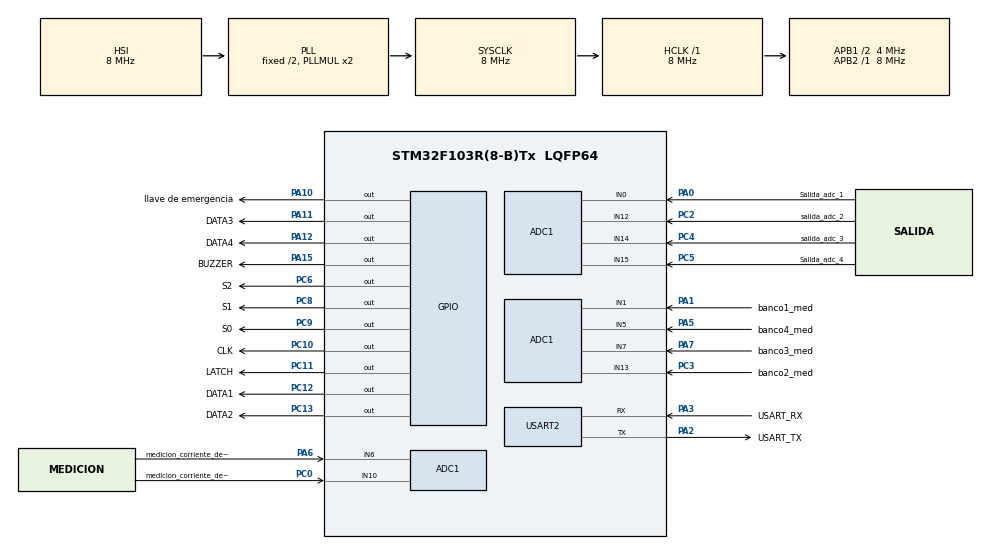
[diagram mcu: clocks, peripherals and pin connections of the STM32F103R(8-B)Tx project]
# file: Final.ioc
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ADC1.Channel-0\#ChannelRegularConversion=ADC_CHANNEL_0
ADC1.Channel-1\#ChannelRegularConversion=ADC_CHANNEL_12
ADC1.Channel-2\#ChannelRegularConversion=ADC_CHANNEL_14
ADC1.Channel-3\#ChannelRegularConversion=ADC_CHANNEL_15
ADC1.Channel-4\#ChannelRegularConversion=ADC_CHANNEL_1
ADC1.Channel-5\#ChannelRegularConversion=ADC_CHANNEL_13
ADC1.Channel-6\#ChannelRegularConversion=ADC_CHANNEL_7
ADC1.Channel-7\#ChannelRegularConversion=ADC_CHANNEL_5
ADC1.Channel-8\#ChannelRegularConversion=ADC_CHANNEL_6
ADC1.Channel-9\#ChannelRegularConversion=ADC_CHANNEL_10
ADC1.ContinuousConvMode=ENABLE
ADC1.NbrOfConversion=10
ADC1.NbrOfConversionFlag=1
ADC1.Rank-0\#ChannelRegularConversion=1
ADC1.Rank-1\#ChannelRegularConversion=2
ADC1.Rank-2\#ChannelRegularConversion=3
ADC1.Rank-3\#ChannelRegularConversion=4
ADC1.Rank-4\#ChannelRegularConversion=5
ADC1.Rank-5\#ChannelRegularConversion=6
ADC1.Rank-6\#ChannelRegularConversion=7
ADC1.Rank-7\#ChannelRegularConversion=8
ADC1.Rank-8\#ChannelRegularConversion=9
ADC1.Rank-9\#ChannelRegularConversion=10
ADC1.SamplingTime-0\#ChannelRegularConversion=ADC_SAMPLETIME_239CYCLES_5
ADC1.SamplingTime-1\#ChannelRegularConversion=ADC_SAMPLETIME_239CYCLES_5
ADC1.SamplingTime-2\#ChannelRegularConversion=ADC_SAMPLETIME_1CYCLE_5
ADC1.SamplingTime-3\#ChannelRegularConversion=ADC_SAMPLETIME_1CYCLE_5
ADC1.SamplingTime-4\#ChannelRegularConversion=ADC_SAMPLETIME_1CYCLE_5
ADC1.SamplingTime-5\#ChannelRegularConversion=ADC_SAMPLETIME_1CYCLE_5
ADC1.SamplingTime-6\#ChannelRegularConversion=ADC_SAMPLETIME_1CYCLE_5
ADC1.SamplingTime-7\#ChannelRegularConversion=ADC_SAMPLETIME_1CYCLE_5
ADC1.SamplingTime-8\#ChannelRegularConversion=ADC_SAMPLETIME_1CYCLE_5
ADC1.SamplingTime-9\#ChannelRegularConversion=ADC_SAMPLETIME_1CYCLE_5
ADC1.master=1
Dma.ADC1.0.Direction=DMA_PERIPH_TO_MEMORY
Dma.ADC1.0.Instance=DMA1_Channel1
Dma.ADC1.0.MemDataAlignment=DMA_MDATAALIGN_HALFWORD
Dma.ADC1.0.MemInc=DMA_MINC_ENABLE
Dma.ADC1.0.Mode=DMA_CIRCULAR
Dma.ADC1.0.PeriphDataAlignment=DMA_PDATAALIGN_HALFWORD
Dma.ADC1.0.PeriphInc=DMA_PINC_DISABLE
Dma.ADC1.0.Priority=DMA_PRIORITY_LOW
Dma.Request0=ADC1
Mcu.Family=STM32F1
Mcu.Name=STM32F103R(8-B)Tx
Mcu.Package=LQFP64
NVIC.ADC1_2_IRQn=true\:0\:0\:false\:false\:true\:true\:true\:true
NVIC.DMA1_Channel1_IRQn=true\:0\:0\:false\:false\:true\:false\:true\:true
NVIC.PriorityGroup=NVIC_PRIORITYGROUP_4
NVIC.USART2_IRQn=true\:0\:0\:false\:false\:true\:true\:true\:true
PA0-WKUP.GPIO_Label=Salida_adc_1
PA0-WKUP.Signal=ADCx_IN0
PA1.GPIO_Label=banco1_med
PA1.Signal=ADCx_IN1
PA10.GPIO_Label=llave de emergencia
PA10.GPIO_PuPd=GPIO_PULLDOWN
PA10.Signal=GPIO_Output
PA11.GPIO_Label=DATA3
PA11.GPIO_PuPd=GPIO_PULLDOWN
PA11.Signal=GPIO_Output
PA12.GPIO_Label=DATA4
PA12.GPIO_PuPd=GPIO_PULLDOWN
PA12.Signal=GPIO_Output
PA13.GPIO_Label=TMS
PA13.Mode=Serial_Wire
PA13.Signal=SYS_JTMS-SWDIO
PA14.GPIO_Label=TCK
PA14.Mode=Serial_Wire
PA14.Signal=SYS_JTCK-SWCLK
PA15.GPIO_Label=BUZZER
PA15.GPIO_PuPd=GPIO_PULLUP
PA15.PinState=GPIO_PIN_SET
PA15.Signal=GPIO_Output
PA2.GPIO_Label=USART_TX
PA2.GPIO_Mode=GPIO_MODE_AF_PP
PA2.GPIO_PuPd=GPIO_NOPULL
PA2.GPIO_Speed=GPIO_SPEED_FREQ_LOW
PA2.Mode=Asynchronous
PA2.Signal=USART2_TX
PA3.GPIO_Label=USART_RX
PA3.GPIO_Mode=GPIO_MODE_AF_PP
PA3.GPIO_PuPd=GPIO_NOPULL
PA3.GPIO_Speed=GPIO_SPEED_FREQ_LOW
PA3.Mode=Asynchronous
PA3.Signal=USART2_RX
PA5.GPIO_Label=banco4_med
PA5.Signal=ADCx_IN5
PA6.GPIO_Label=medicion_corriente_descarga
PA6.Signal=ADCx_IN6
PA7.GPIO_Label=banco3_med
PA7.Signal=ADCx_IN7
PC0.GPIO_Label=medicion_corriente_de_carga
PC0.Signal=ADCx_IN10
PC10.GPIO_Label=CLK
PC10.GPIO_PuPd=GPIO_PULLDOWN
PC10.Signal=GPIO_Output
PC11.GPIO_Label=LATCH
PC11.GPIO_PuPd=GPIO_PULLDOWN
PC11.Signal=GPIO_Output
PC12.GPIO_Label=DATA1
PC12.GPIO_PuPd=GPIO_PULLDOWN
PC12.Signal=GPIO_Output
PC13-TAMPER-RTC.GPIO_Label=DATA2
PC13-TAMPER-RTC.GPIO_PuPd=GPIO_PULLDOWN
PC13-TAMPER-RTC.Signal=GPIO_Output
PC14-OSC32_IN.Mode=LSE-External-Oscillator
PC14-OSC32_IN.Signal=RCC_OSC32_IN
PC15-OSC32_OUT.Mode=LSE-External-Oscillator
PC15-OSC32_OUT.Signal=RCC_OSC32_OUT
PC2.GPIO_Label=salida_adc_2
PC2.Signal=ADCx_IN12
PC3.GPIO_Label=banco2_med
PC3.Signal=ADCx_IN13
PC4.GPIO_Label=salida_adc_3
PC4.Signal=ADCx_IN14
PC5.GPIO_Label=Salida_adc_4
PC5.Signal=ADCx_IN15
PC6.GPIO_Label=S2
PC6.GPIO_PuPd=GPIO_PULLDOWN
PC6.Signal=GPIO_Output
PC8.GPIO_Label=S1
PC8.GPIO_PuPd=GPIO_PULLDOWN
PC8.Signal=GPIO_Output
PC9.GPIO_Label=S0
PC9.GPIO_PuPd=GPIO_PULLDOWN
PC9.Signal=GPIO_Output
PD0-OSC_IN.Mode=HSE-External-Clock-Source
PD0-OSC_IN.Signal=RCC_OSC_IN
PD1-OSC_OUT.Mode=HSE-External-Clock-Source
PD1-OSC_OUT.Signal=RCC_OSC_OUT
ProjectManager.HeapSize=0x200
ProjectManager.StackSize=0x400
ProjectManager.TargetToolchain=STM32CubeIDE
RCC.AHBFreq_Value=8000000
RCC.APB1CLKDivider=RCC_HCLK_DIV2
RCC.APB1Freq_Value=4000000
RCC.APB1TimFreq_Value=8000000
RCC.APB2Freq_Value=8000000
RCC.APB2TimFreq_Value=8000000
RCC.HCLKFreq_Value=8000000
RCC.RTCClockSelection=RCC_RTCCLKSOURCE_LSE
RCC.SYSCLKFreq_VALUE=8000000
RCC.SYSCLKSource=RCC_SYSCLKSOURCE_PLLCLK
RCC.USBFreq_Value=8000000
SH.ADCx_IN0.0=ADC1_IN0,IN0
SH.ADCx_IN1.0=ADC1_IN1,IN1
SH.ADCx_IN10.0=ADC1_IN10,IN10
SH.ADCx_IN12.0=ADC1_IN12,IN12
SH.ADCx_IN13.0=ADC1_IN13,IN13
SH.ADCx_IN14.0=ADC1_IN14,IN14
SH.ADCx_IN15.0=ADC1_IN15,IN15
SH.ADCx_IN5.0=ADC1_IN5,IN5
SH.ADCx_IN6.0=ADC1_IN6,IN6
SH.ADCx_IN7.0=ADC1_IN7,IN7
USART2.VirtualMode=VM_ASYNC
board=NUCLEO-F103RB

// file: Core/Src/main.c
/* USER CODE BEGIN Header */
#include "shift_register.h"
/**
  ******************************************************************************
  * @file           : main.c
  * @brief          : Main program body
  ******************************************************************************
  * @attention
  *
  * Copyright (c) 2026 STMicroelectronics.
  * All rights reserved.
  *
  * This software is licensed under terms that can be found in the LICENSE file
  * in the root directory of this software component.
  * If no LICENSE file comes with this software, it is provided AS-IS.
  *
  ******************************************************************************
  */
/* USER CODE END Header */
#include "main.h"

/* USER CODE BEGIN Includes */
#include "controlador.h"
#include "cli.h"
#include "adc.h"
#include "Llave.h"
/* USER CODE END Includes */

ADC_HandleTypeDef hadc1;
DMA_HandleTypeDef hdma_adc1;

UART_HandleTypeDef huart2;

/* USER CODE BEGIN PV */
extern volatile uint8_t flag_controlador_update;

/* USER CODE END PV */

void SystemClock_Config(void);
static void MX_GPIO_Init(void);
static void MX_DMA_Init(void);
static void MX_USART2_UART_Init(void);
static void MX_ADC1_Init(void);

int main(void)
{

  /* MCU Configuration--------------------------------------------------------*/

  /* Reset of all peripherals, Initializes the Flash interface and the Systick. */
  HAL_Init();

  /* Configure the system clock */
  SystemClock_Config();

  /* Initialize all configured peripherals */
  MX_GPIO_Init();
  MX_DMA_Init();
  MX_USART2_UART_Init();
  MX_ADC1_Init();
  /* USER CODE BEGIN 2 */

  Llave_Init();
  CLI_Init(&huart2);
  adc_init();

  /* USER CODE END 2 */

  /* Infinite loop */
  /* USER CODE BEGIN WHILE */
  //Controlador_IniciarSwitchingCelda(0,1,'s');

  while (1)
  {
	  //Controlador_EncenderCelda(0,0);
	   CLI_Process();
	   adc_update();
	    if (flag_controlador_update) {
	        flag_controlador_update = 0;
	        if (Controlador_Update() == -1){
	        	CLI_ImprimirFalla(Controlador_GetFalla());
	        }
	    }

    /* USER CODE END WHILE */

  }
}

void SystemClock_Config(void)
{
  RCC_OscInitTypeDef RCC_OscInitStruct = {0};
  RCC_ClkInitTypeDef RCC_ClkInitStruct = {0};
  RCC_PeriphCLKInitTypeDef PeriphClkInit = {0};

  /** Initializes the RCC Oscillators according to the specified parameters
  * in the RCC_OscInitTypeDef structure.
  */
  RCC_OscInitStruct.OscillatorType = RCC_OSCILLATORTYPE_HSI;
  RCC_OscInitStruct.HSIState = RCC_HSI_ON;
  RCC_OscInitStruct.HSICalibrationValue = RCC_HSICALIBRATION_DEFAULT;
  RCC_OscInitStruct.PLL.PLLState = RCC_PLL_ON;
  RCC_OscInitStruct.PLL.PLLSource = RCC_PLLSOURCE_HSI_DIV2;
  RCC_OscInitStruct.PLL.PLLMUL = RCC_PLL_MUL2;
  if (HAL_RCC_OscConfig(&RCC_OscInitStruct) != HAL_OK)
  {
    Error_Handler();
  }

  /** Initializes the CPU, AHB and APB buses clocks
  */
  RCC_ClkInitStruct.ClockType = RCC_CLOCKTYPE_HCLK|RCC_CLOCKTYPE_SYSCLK
                              |RCC_CLOCKTYPE_PCLK1|RCC_CLOCKTYPE_PCLK2;
  RCC_ClkInitStruct.SYSCLKSource = RCC_SYSCLKSOURCE_PLLCLK;
  RCC_ClkInitStruct.AHBCLKDivider = RCC_SYSCLK_DIV1;
  RCC_ClkInitStruct.APB1CLKDivider = RCC_HCLK_DIV2;
  RCC_ClkInitStruct.APB2CLKDivider = RCC_HCLK_DIV1;

  if (HAL_RCC_ClockConfig(&RCC_ClkInitStruct, FLASH_LATENCY_0) != HAL_OK)
  {
    Error_Handler();
  }
  PeriphClkInit.PeriphClockSelection = RCC_PERIPHCLK_ADC;
  PeriphClkInit.AdcClockSelection = RCC_ADCPCLK2_DIV2;
  if (HAL_RCCEx_PeriphCLKConfig(&PeriphClkInit) != HAL_OK)
  {
    Error_Handler();
  }
}

static void MX_ADC1_Init(void)
{

  ADC_ChannelConfTypeDef sConfig = {0};

  /** Common config
  */
  hadc1.Instance = ADC1;
  hadc1.Init.ScanConvMode = ADC_SCAN_ENABLE;
  hadc1.Init.ContinuousConvMode = ENABLE;
  hadc1.Init.DiscontinuousConvMode = DISABLE;
  hadc1.Init.ExternalTrigConv = ADC_SOFTWARE_START;
  hadc1.Init.DataAlign = ADC_DATAALIGN_RIGHT;
  hadc1.Init.NbrOfConversion = 10;
  if (HAL_ADC_Init(&hadc1) != HAL_OK)
  {
    Error_Handler();
  }

  /** Configure Regular Channel
  */
  sConfig.Channel = ADC_CHANNEL_0;
  sConfig.Rank = ADC_REGULAR_RANK_1;
  sConfig.SamplingTime = ADC_SAMPLETIME_239CYCLES_5;
  if (HAL_ADC_ConfigChannel(&hadc1, &sConfig) != HAL_OK)
  {
    Error_Handler();
  }

  /** Configure Regular Channel
  */
  sConfig.Channel = ADC_CHANNEL_12;
  sConfig.Rank = ADC_REGULAR_RANK_2;
  if (HAL_ADC_ConfigChannel(&hadc1, &sConfig) != HAL_OK)
  {
    Error_Handler();
  }

  /** Configure Regular Channel
  */
  sConfig.Channel = ADC_CHANNEL_14;
  sConfig.Rank = ADC_REGULAR_RANK_3;
  sConfig.SamplingTime = ADC_SAMPLETIME_1CYCLE_5;
  if (HAL_ADC_ConfigChannel(&hadc1, &sConfig) != HAL_OK)
  {
    Error_Handler();
  }

  /** Configure Regular Channel
  */
  sConfig.Channel = ADC_CHANNEL_15;
  sConfig.Rank = ADC_REGULAR_RANK_4;
  if (HAL_ADC_ConfigChannel(&hadc1, &sConfig) != HAL_OK)
  {
    Error_Handler();
  }

  /** Configure Regular Channel
  */
  sConfig.Channel = ADC_CHANNEL_1;
  sConfig.Rank = ADC_REGULAR_RANK_5;
  if (HAL_ADC_ConfigChannel(&hadc1, &sConfig) != HAL_OK)
  {
    Error_Handler();
  }

  /** Configure Regular Channel
  */
  sConfig.Channel = ADC_CHANNEL_13;
  sConfig.Rank = ADC_REGULAR_RANK_6;
  if (HAL_ADC_ConfigChannel(&hadc1, &sConfig) != HAL_OK)
  {
    Error_Handler();
  }

  /** Configure Regular Channel
  */
  sConfig.Channel = ADC_CHANNEL_7;
  sConfig.Rank = ADC_REGULAR_RANK_7;
  if (HAL_ADC_ConfigChannel(&hadc1, &sConfig) != HAL_OK)
  {
    Error_Handler();
  }

  /** Configure Regular Channel
  */
  sConfig.Channel = ADC_CHANNEL_5;
  sConfig.Rank = ADC_REGULAR_RANK_8;
  if (HAL_ADC_ConfigChannel(&hadc1, &sConfig) != HAL_OK)
  {
    Error_Handler();
  }

  /** Configure Regular Channel
  */
  sConfig.Channel = ADC_CHANNEL_6;
  sConfig.Rank = ADC_REGULAR_RANK_9;
  if (HAL_ADC_ConfigChannel(&hadc1, &sConfig) != HAL_OK)
  {
    Error_Handler();
  }

  /** Configure Regular Channel
  */
  sConfig.Channel = ADC_CHANNEL_10;
  sConfig.Rank = ADC_REGULAR_RANK_10;
  if (HAL_ADC_ConfigChannel(&hadc1, &sConfig) != HAL_OK)
  {
    Error_Handler();
  }

}

static void MX_USART2_UART_Init(void)
{

  huart2.Instance = USART2;
  huart2.Init.BaudRate = 115200;
  huart2.Init.WordLength = UART_WORDLENGTH_8B;
  huart2.Init.StopBits = UART_STOPBITS_1;
  huart2.Init.Parity = UART_PARITY_NONE;
  huart2.Init.Mode = UART_MODE_TX_RX;
  huart2.Init.HwFlowCtl = UART_HWCONTROL_NONE;
  huart2.Init.OverSampling = UART_OVERSAMPLING_16;
  if (HAL_UART_Init(&huart2) != HAL_OK)
  {
    Error_Handler();
  }

}

static void MX_DMA_Init(void)
{

  /* DMA controller clock enable */
  __HAL_RCC_DMA1_CLK_ENABLE();

  /* DMA interrupt init */
  /* DMA1_Channel1_IRQn interrupt configuration */
  HAL_NVIC_SetPriority(DMA1_Channel1_IRQn, 0, 0);
  HAL_NVIC_EnableIRQ(DMA1_Channel1_IRQn);

}

static void MX_GPIO_Init(void)
{
  GPIO_InitTypeDef GPIO_InitStruct = {0};

  /* GPIO Ports Clock Enable */
  __HAL_RCC_GPIOC_CLK_ENABLE();
  __HAL_RCC_GPIOD_CLK_ENABLE();
  __HAL_RCC_GPIOA_CLK_ENABLE();

  /*Configure GPIO pin Output Level */
  HAL_GPIO_WritePin(GPIOC, DATA2_Pin|S2_Pin|S1_Pin|S0_Pin
                          |CLK_Pin|LATCH_Pin|DATA1_Pin, GPIO_PIN_RESET);

  /*Configure GPIO pin Output Level */
  HAL_GPIO_WritePin(GPIOA, llave_de_emergencia_Pin|DATA3_Pin|DATA4_Pin, GPIO_PIN_RESET);

  /*Configure GPIO pin Output Level */
  HAL_GPIO_WritePin(BUZZER_GPIO_Port, BUZZER_Pin, GPIO_PIN_SET);

  /*Configure GPIO pins : DATA2_Pin S2_Pin S1_Pin S0_Pin
                           CLK_Pin LATCH_Pin DATA1_Pin */
  GPIO_InitStruct.Pin = DATA2_Pin|S2_Pin|S1_Pin|S0_Pin
                          |CLK_Pin|LATCH_Pin|DATA1_Pin;
  GPIO_InitStruct.Mode = GPIO_MODE_OUTPUT_PP;
  GPIO_InitStruct.Pull = GPIO_PULLDOWN;
  GPIO_InitStruct.Speed = GPIO_SPEED_FREQ_LOW;
  HAL_GPIO_Init(GPIOC, &GPIO_InitStruct);

  /*Configure GPIO pins : llave_de_emergencia_Pin DATA3_Pin DATA4_Pin */
  GPIO_InitStruct.Pin = llave_de_emergencia_Pin|DATA3_Pin|DATA4_Pin;
  GPIO_InitStruct.Mode = GPIO_MODE_OUTPUT_PP;
  GPIO_InitStruct.Pull = GPIO_PULLDOWN;
  GPIO_InitStruct.Speed = GPIO_SPEED_FREQ_LOW;
  HAL_GPIO_Init(GPIOA, &GPIO_InitStruct);

  /*Configure GPIO pin : BUZZER_Pin */
  GPIO_InitStruct.Pin = BUZZER_Pin;
  GPIO_InitStruct.Mode = GPIO_MODE_OUTPUT_PP;
  GPIO_InitStruct.Pull = GPIO_PULLUP;
  GPIO_InitStruct.Speed = GPIO_SPEED_FREQ_LOW;
  HAL_GPIO_Init(BUZZER_GPIO_Port, &GPIO_InitStruct);

  /* USER CODE BEGIN MX_GPIO_Init_2 */
  /* Modulo low level trigger: PA15 en HIGH mantiene el buzzer apagado. */
  HAL_GPIO_WritePin(BUZZER_GPIO_Port, BUZZER_Pin, GPIO_PIN_SET);
  GPIO_InitStruct.Pin = BUZZER_Pin;
  GPIO_InitStruct.Mode = GPIO_MODE_OUTPUT_PP;
  GPIO_InitStruct.Pull = GPIO_NOPULL;
  GPIO_InitStruct.Speed = GPIO_SPEED_FREQ_LOW;
  HAL_GPIO_Init(BUZZER_GPIO_Port, &GPIO_InitStruct);

  /* USER CODE END MX_GPIO_Init_2 */
}

/* USER CODE BEGIN 4 */
void HAL_UART_RxCpltCallback(UART_HandleTypeDef *huart)
{
  CLI_RxCallback(huart);
}
void HAL_GPIO_EXTI_Callback(uint16_t GPIO_Pin)
{
  //CLI_ButtonReiniciarCallback(GPIO_Pin);
}
/* USER CODE END 4 */

void Error_Handler(void)
{
  __disable_irq();
  while (1)
  {
  }
}
